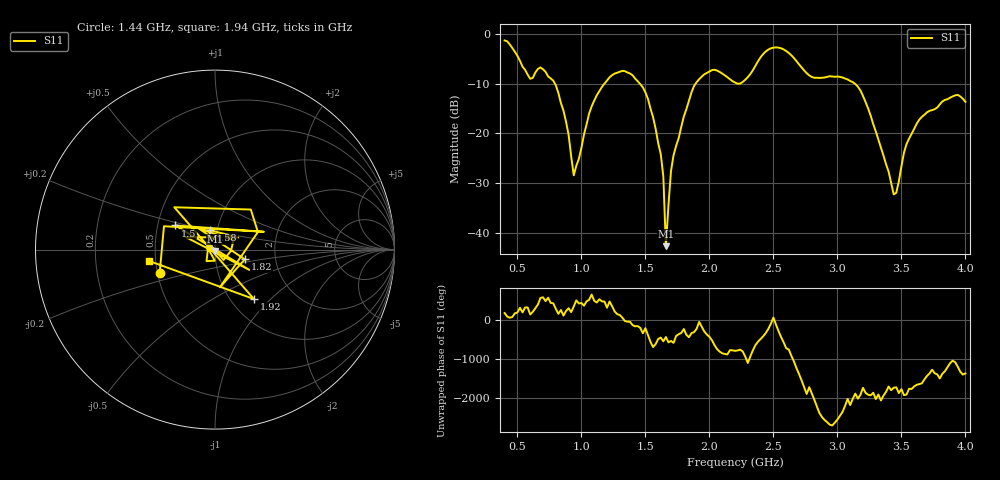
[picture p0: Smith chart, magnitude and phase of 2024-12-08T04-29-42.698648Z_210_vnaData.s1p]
!Created with skrf (http://scikit-rf.org).
# Hz S RI R 50.0
!freq ReS11 ImS11
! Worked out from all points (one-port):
!   181 points, 400 MHz to 4 GHz, reference 50 ohm
!   lowest |S11| = -42.7 dB at 1.66 GHz (marker M1), VSWR 1.01, Z = 50.2 - j0.717 ohm
!   |S11| at or under -10 dB: 793 MHz to 1.18 GHz (386.9 MHz wide, 39.2 % of centre); 1.457 GHz to 1.892 GHz (435.8 MHz wide, 26 % of centre); 3.136 GHz to end of sweep (the widest 3 of 4)
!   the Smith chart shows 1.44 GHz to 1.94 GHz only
!   S11 on the Smith chart (normalised r, x): 1.44 GHz: 0.51, -0.15; 1.5 GHz: 0.62, +0.18; 1.58 GHz: 0.93, +0.20; 1.82 GHz: 1.39, -0.16; 1.92 GHz: 1.27, -0.80; 1.94 GHz: 0.46, -0.07
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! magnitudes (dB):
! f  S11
! 400 MHz  -1.3
! 600 MHz  -9.0
! 680 MHz  -6.7
! 780 MHz  -9.4
! 860 MHz  -15.4
! 940 MHz  -28.4
! 1.1 GHz  -13.4
! 1.3 GHz  -7.6
! 1.44 GHz  -9.5
! 1.5 GHz  -11.8
! 1.58 GHz  -19.1
! 1.64 GHz  -28.6
! 1.66 GHz  -42.7
! 1.7 GHz  -27.6
! 1.76 GHz  -21.0
! 1.82 GHz  -15.1
! 1.92 GHz  -9.1
! 1.94 GHz  -8.6
! 2.2 GHz  -9.8
! 2.48 GHz  -2.9
! 2.66 GHz  -4.8
! 2.8 GHz  -8.7
! 3.1 GHz  -9.5
! 3.24 GHz  -15.0
! 3.44 GHz  -32.3
! 3.56 GHz  -21.0
! 3.82 GHz  -13.6
! 4 GHz  -13.7
